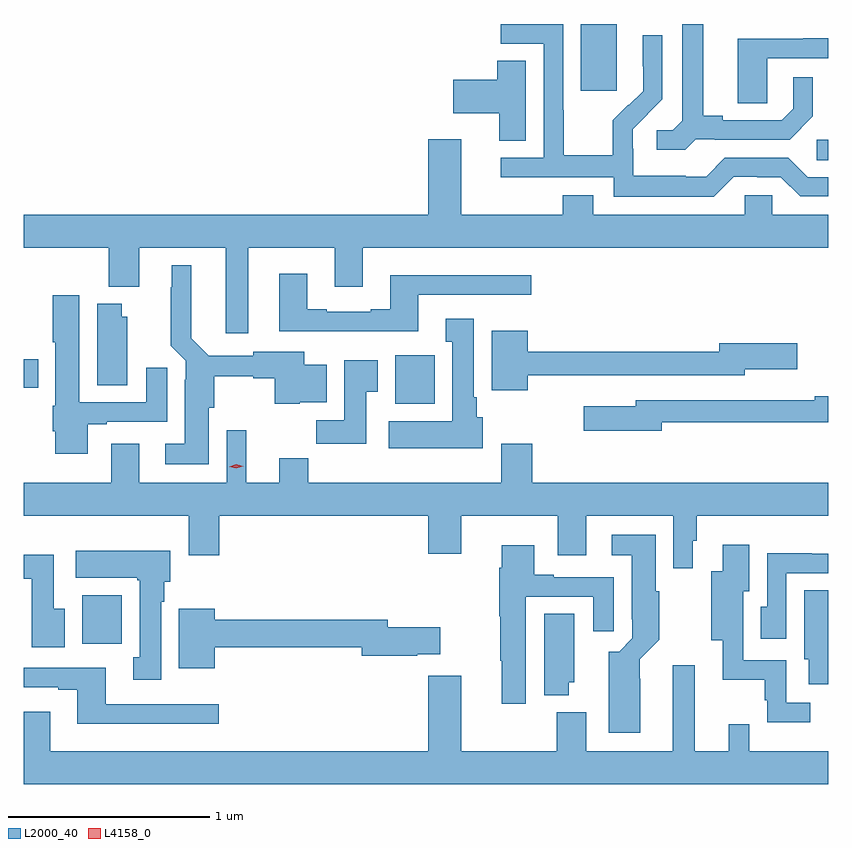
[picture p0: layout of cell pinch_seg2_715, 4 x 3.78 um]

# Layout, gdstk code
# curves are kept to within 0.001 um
import gdstk
lib = gdstk.Library(unit=1e-6, precision=1e-09)
def R(c, l, rs):  # rectangles x0, y0, x1, y1
    for r in rs: c.add(gdstk.rectangle(r[:2], r[2:], *l))
def P(c, l, *ps):  # polygons
    for p in ps: c.add(gdstk.Polygon(p, *l))
L2000_40 = (2000, 40)
L4158_0 = (4158, 0)

pinch_seg2_715 = lib.new_cell('pinch_seg2_715')
R(pinch_seg2_715, L2000_40, [(786.665,656.324,786.862,656.566), (788.219,657.518,788.416,657.76), (786.373,657.598,786.445,657.74), (790.314,658.729,790.373,658.83), (789.143,659.073,789.322,659.405)])
P(pinch_seg2_715, L2000_40, [(789.903,658.647),(790.019,658.647),(790.019,658.644),(790.137,658.644),(790.233,658.548),(790.373,658.548),(790.373,658.644),(790.269,658.644),(790.173,658.74),(789.858,658.74),(789.765,658.647),(789.665,658.647),(789.665,658.651),(789.402,658.651),(789.402,658.785),(789.4,658.785),(789.4,658.882),(789.546,659.03),(789.546,659.348),(789.45,659.348),(789.45,659.194),(789.452,659.194),(789.452,659.072),(789.381,659.001),(789.378,659.004),(789.301,658.927),(789.301,658.753),(789.057,658.753),(789.057,658.976),(789.054,658.976),(789.054,659.405),(788.745,659.405),(788.745,659.307),(788.958,659.307),(788.958,658.74),(788.745,658.74),(788.745,658.644),(789.306,658.644),(789.306,658.547),(789.803,658.547)],
  [(789.714,658.833),(789.808,658.833),(789.808,658.83),(790.18,658.83),(790.296,658.946),(790.296,659.14),(790.199,659.14),(790.199,658.983),(790.142,658.926),(789.847,658.926),(789.847,658.949),(789.751,658.949),(789.751,659.405),(789.647,659.405),(789.647,658.925),(789.6,658.878),(789.519,658.878),(789.519,658.781),(789.662,658.781)],
  [(790.068,659.235),(790.373,659.235),(790.373,659.335),(790.247,659.335),(790.247,659.331),(789.923,659.331),(789.923,659.011),(790.068,659.011)],
  [(788.869,659.222),(788.726,659.222),(788.726,659.127),(788.508,659.127),(788.508,658.961),(788.738,658.961),(788.738,658.825),(788.869,658.825)],
  [(787.489,658.292),(787.919,658.292),(787.919,658.098),(788.059,658.098),(788.059,658.292),(790.373,658.292),(790.373,658.456),(790.095,658.456),(790.095,658.554),(789.957,658.554),(789.957,658.456),(789.205,658.456),(789.205,658.555),(789.053,658.555),(789.053,658.456),(788.548,658.456),(788.548,658.831),(788.384,658.831),(788.384,658.456),(786.373,658.456),(786.373,658.292),(786.797,658.292),(786.797,658.1),(786.949,658.1),(786.949,658.292),(787.379,658.292),(787.379,657.867),(787.489,657.867)],
  [(787.294,657.498),(787.32,657.498),(787.32,657.655),(787.514,657.655),(787.514,657.644),(787.621,657.644),(787.621,657.518),(787.746,657.518),(787.746,657.524),(787.879,657.524),(787.879,657.712),(787.768,657.712),(787.768,657.776),(787.514,657.776),(787.514,657.756),(787.294,657.756),(787.207,657.844),(787.207,658.207),(787.109,658.207),(787.109,658.097),(787.105,658.097),(787.105,657.806),(787.179,657.732),(787.179,657.638),(787.175,657.638),(787.175,657.319),(787.077,657.319),(787.077,657.218),(787.294,657.218)],
  [(788.335,658.059),(788.896,658.059),(788.896,658.156),(788.195,658.156),(788.195,657.988),(788.099,657.988),(788.099,657.975),(787.879,657.975),(787.879,657.988),(787.783,657.988),(787.783,658.165),(787.643,658.165),(787.643,657.878),(788.335,657.878)],
  [(786.691,657.417),(786.787,657.417),(786.787,657.429),(787.087,657.429),(787.087,657.697),(786.983,657.697),(786.983,657.525),(786.649,657.525),(786.649,658.057),(786.518,658.057),(786.518,657.823),(786.53,657.823),(786.53,657.509),(786.518,657.509),(786.518,657.382),(786.53,657.382),(786.53,657.27),(786.691,657.27)],
  [(786.889,657.951),(786.862,657.951),(786.862,658.015),(786.74,658.015),(786.74,657.61),(786.889,657.61)],
  [(788.656,657.45),(788.626,657.45),(788.626,657.55),(788.611,657.55),(788.611,657.94),(788.471,657.94),(788.471,657.827),(788.504,657.827),(788.504,657.43),(788.187,657.43),(788.187,657.296),(788.656,657.296)],
  [(788.878,657.659),(789.32,657.659),(789.32,657.66),(789.958,657.66),(789.958,657.689),(790.219,657.689),(790.219,657.819),(789.83,657.819),(789.83,657.776),(788.878,657.776),(788.878,657.88),(788.699,657.88),(788.699,657.584),(788.878,657.584)],
  [(788.077,657.577),(788.134,657.577),(788.134,657.733),(787.967,657.733),(787.967,657.436),(787.828,657.436),(787.828,657.318),(788.077,657.318)],
  [(789.544,657.426),(790.373,657.426),(790.373,657.554),(790.306,657.554),(790.306,657.535),(790.054,657.535),(790.054,657.534),(789.416,657.534),(789.416,657.505),(789.156,657.505),(789.156,657.383),(789.544,657.383)],
  [(789.699,656.838),(789.719,656.838),(789.719,656.96),(790.373,656.96),(790.373,657.124),(788.9,657.124),(788.9,657.319),(788.747,657.319),(788.747,657.124),(787.787,657.124),(787.787,657.248),(787.643,657.248),(787.643,657.124),(787.48,657.124),(787.48,657.385),(787.383,657.385),(787.383,657.124),(786.949,657.124),(786.949,657.319),(786.809,657.319),(786.809,657.124),(786.373,657.124),(786.373,656.96),(787.193,656.96),(787.193,656.766),(787.346,656.766),(787.346,656.96),(788.384,656.96),(788.384,656.772),(788.548,656.772),(788.548,656.96),(789.029,656.96),(789.029,656.766),(789.169,656.766),(789.169,656.96),(789.603,656.96),(789.603,656.7),(789.699,656.7)],
  [(789.439,656.15),(789.435,656.15),(789.435,656.248),(789.532,656.345),(789.532,656.586),(789.514,656.586),(789.514,656.866),(789.297,656.866),(789.297,656.765),(789.395,656.765),(789.395,656.446),(789.399,656.446),(789.399,656.352),(789.333,656.286),(789.281,656.286),(789.281,655.883),(789.439,655.883)],
  [(790.282,656.031),(790.164,656.031),(790.164,656.244),(789.949,656.244),(789.949,656.585),(789.979,656.585),(789.979,656.818),(789.848,656.818),(789.848,656.686),(789.791,656.686),(789.791,656.342),(789.848,656.342),(789.848,656.146),(790.056,656.146),(790.056,656.045),(790.068,656.045),(790.068,655.934),(790.282,655.934)],
  [(788.869,656.559),(789.203,656.559),(789.203,656.388),(789.307,656.388),(789.307,656.655),(789.007,656.655),(789.007,656.668),(788.911,656.668),(788.911,656.815),(788.75,656.815),(788.75,656.702),(788.738,656.702),(788.738,656.462),(788.743,656.462),(788.743,656.24),(788.75,656.24),(788.75,656.028),(788.869,656.028)],
  [(787.057,656.534),(787.072,656.534),(787.072,656.634),(787.102,656.634),(787.102,656.788),(786.633,656.788),(786.633,656.654),(786.937,656.654),(786.937,656.641),(786.95,656.641),(786.95,656.258),(786.917,656.258),(786.917,656.145),(787.057,656.145)],
  [(790.164,656.676),(790.373,656.676),(790.373,656.772),(790.289,656.772),(790.289,656.774),(790.068,656.774),(790.068,656.509),(790.037,656.509),(790.037,656.349),(790.164,656.349)],
  [(786.577,656.5),(786.523,656.5),(786.523,656.767),(786.373,656.767),(786.373,656.648),(786.413,656.648),(786.413,656.307),(786.577,656.307)],
  [(790.373,656.591),(790.253,656.591),(790.253,656.247),(790.274,656.247),(790.274,656.124),(790.373,656.124)],
  [(787.324,656.308),(788.054,656.308),(788.054,656.266),(788.33,656.266),(788.33,656.273),(788.443,656.273),(788.443,656.408),(788.182,656.408),(788.182,656.444),(787.324,656.444),(787.324,656.5),(787.145,656.5),(787.145,656.204),(787.324,656.204)],
  [(789.082,656.133),(789.109,656.133),(789.109,656.474),(788.96,656.474),(788.96,656.069),(789.082,656.069)],
  [(790.373,655.792),(789.979,655.792),(789.979,655.924),(789.878,655.924),(789.878,655.792),(789.709,655.792),(789.709,656.218),(789.599,656.218),(789.599,655.792),(789.169,655.792),(789.169,655.984),(789.022,655.984),(789.022,655.792),(788.548,655.792),(788.548,656.167),(788.384,656.167),(788.384,655.792),(786.505,655.792),(786.505,655.987),(786.373,655.987),(786.373,655.628),(790.373,655.628)],
  [(787.342,656.025),(786.781,656.025),(786.781,656.205),(786.373,656.205),(786.373,656.109),(786.545,656.109),(786.545,656.097),(786.641,656.097),(786.641,655.928),(787.342,655.928)])
P(pinch_seg2_715, L4158_0, [(787.43,657.196),(787.395,657.205),(787.394,657.205),(787.395,657.205),(787.43,657.216),(787.465,657.207),(787.465,657.206),(787.465,657.206)])

lib.write_gds('pinch_seg2_715.gds')
